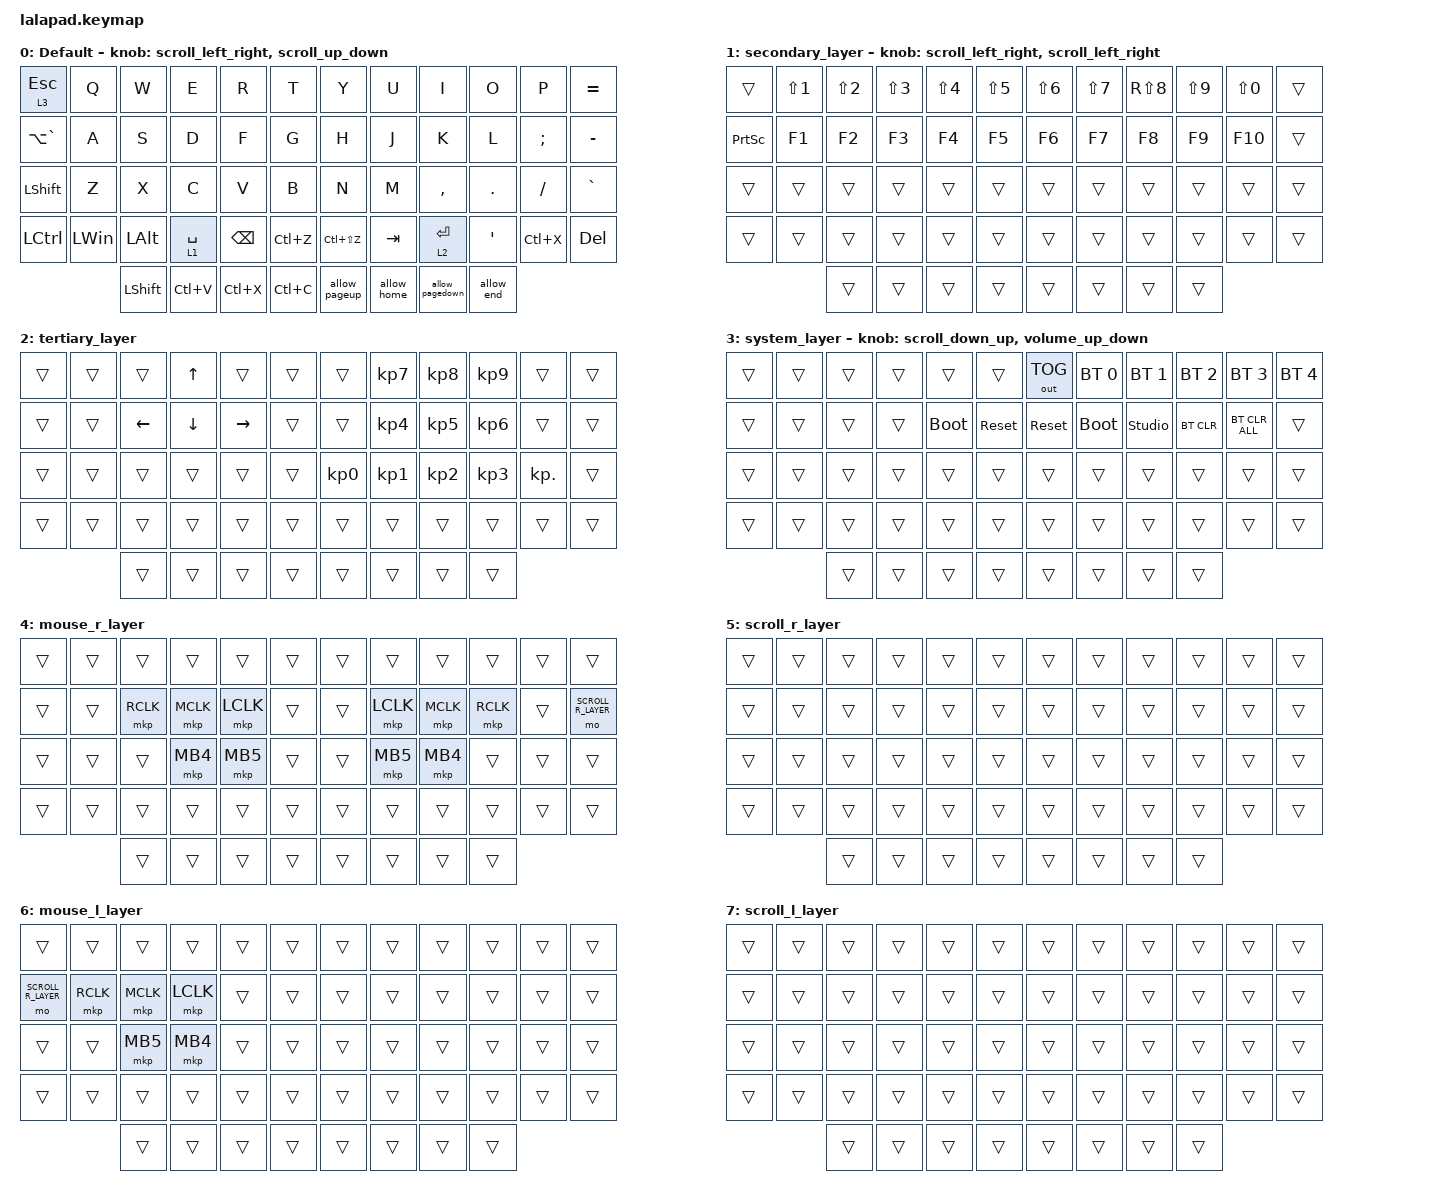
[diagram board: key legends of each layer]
#include <input/processors.dtsi>
#include <behaviors.dtsi>
#include <dt-bindings/zmk/bt.h>
#include <dt-bindings/zmk/keys.h>
#include <dt-bindings/zmk/outputs.h>
#include <dt-bindings/zmk/pointing.h>

#define DEFAULT_LAYER   0
#define SECONDARY_LAYER 1
#define TERTIARY_LAYER  2
#define SYSTEM_LAYER    3
#define MOUSE_R_LAYER   4
#define SCROLL_R_LAYER  5
#define MOUSE_L_LAYER   6
#define SCROLL_L_LAYER  7

// Mouse Scroll Value

#define ZMK_POINTING_DEFAULT_SCRL_VAL 100

// cirque trackpad input&layer control

&glidepoint_listener_R {
    input-processors =
        <&zip_xy_transform (INPUT_TRANSFORM_XY_SWAP | INPUT_TRANSFORM_X_INVERT | INPUT_TRANSFORM_Y_INVERT)>,
        <&zip_xy_scaler 6 3>,
        <&zip_temp_layer MOUSE_R_LAYER 500>;

    lowspeedmode {
        layers = <SECONDARY_LAYER>;
        input-processors =
            <&zip_xy_transform (INPUT_TRANSFORM_XY_SWAP | INPUT_TRANSFORM_X_INVERT | INPUT_TRANSFORM_Y_INVERT)>,
            <&zip_xy_scaler 3 5>,
            <&zip_temp_layer MOUSE_R_LAYER 500>;
    };

    scroller {
        layers = <SCROLL_R_LAYER>;
        input-processors =
            <&zip_xy_to_scroll_mapper>,
            <&zip_scroll_transform (INPUT_TRANSFORM_XY_SWAP | INPUT_TRANSFORM_Y_INVERT)>,
            <&zip_scroll_scaler 1 8>;
    };
};

&glidepoint_listener_L {
    input-processors =
        <&zip_xy_transform (INPUT_TRANSFORM_XY_SWAP | INPUT_TRANSFORM_X_INVERT | INPUT_TRANSFORM_Y_INVERT)>,
        <&zip_xy_scaler 3 2>,
        <&zip_temp_layer MOUSE_L_LAYER 500>;

    lowspeedmode {
        layers = <SECONDARY_LAYER>;
        input-processors =
            <&zip_xy_transform (INPUT_TRANSFORM_XY_SWAP | INPUT_TRANSFORM_X_INVERT | INPUT_TRANSFORM_Y_INVERT)>,
            <&zip_xy_scaler 3 4>,
            <&zip_temp_layer MOUSE_L_LAYER 500>;
    };

    scroller {
        layers = <SCROLL_L_LAYER>;
        input-processors =
            <&zip_xy_to_scroll_mapper>,
            <&zip_scroll_transform (INPUT_TRANSFORM_XY_SWAP | INPUT_TRANSFORM_Y_INVERT)>,
            <&zip_scroll_scaler 1 6>;
    };
};

/ {
    behaviors {
        // Encoder to Mouse Scroll

        scroll_up_down: sensor_scroll_up_down {
            compatible = "zmk,behavior-sensor-rotate";
            #sensor-binding-cells = <0>;
            bindings = <&msc SCRL_UP>, <&msc SCRL_DOWN>;

            tap-ms = <20>;
            label = "SCROLL_UP_DOWN";
        };

        scroll_down_up: sensor_scroll_down_up {
            compatible = "zmk,behavior-sensor-rotate";
            #sensor-binding-cells = <0>;
            bindings = <&msc SCRL_DOWN>, <&msc SCRL_UP>;

            tap-ms = <20>;
            label = "SCROLL_DOWN_UP";
        };

        scroll_left_right: sensor_scroll_left_right {
            compatible = "zmk,behavior-sensor-rotate";
            #sensor-binding-cells = <0>;
            bindings = <&msc SCRL_LEFT>, <&msc SCRL_RIGHT>;

            tap-ms = <20>;
            label = "SCROLL_LEFT_RIGHT";
        };

        scroll_right_left: sensor_scroll_right_left {
            compatible = "zmk,behavior-sensor-rotate";
            #sensor-binding-cells = <0>;
            bindings = <&msc SCRL_RIGHT>, <&msc SCRL_LEFT>;

            tap-ms = <20>;
            label = "SCROLL_RIGHT_LEFT";
        };

        volume_up_down: sensor_volume_up_down {
            compatible = "zmk,behavior-sensor-rotate";
            #sensor-binding-cells = <0>;
            bindings = <&kp C_VOLUME_UP>, <&kp C_VOLUME_DOWN>;

            tap-ms = <20>;
            label = "VOLUME_UP_DOWN";
        };

        dot_comma: dot_comma {
            compatible = "zmk,behavior-mod-morph";
            #binding-cells = <0>;
            bindings = <&kp KP_DOT>, <&kp COMMA>;

            mods = <(MOD_LSFT|MOD_RSFT)>;
            label = "DOT_COMMA";
        };

        pls_minus: pls_minus {
            compatible = "zmk,behavior-mod-morph";
            #binding-cells = <0>;
            bindings = <&kp PLUS>, <&kp MINUS>;

            mods = <(MOD_LSFT|MOD_RSFT)>;
            label = "PLS_MINUS";
        };

        allow_pageup: allow_pageup {
            compatible = "zmk,behavior-mod-morph";
            #binding-cells = <0>;
            bindings = <&kp UP>, <&kp PAGE_UP>;

            mods = <(MOD_LCTL|MOD_RCTL)>;
            label = "ALLOW_PAGEUP";
        };

        allow_pagedown: allow_pagedown {
            compatible = "zmk,behavior-mod-morph";
            #binding-cells = <0>;
            bindings = <&kp DOWN>, <&kp PAGE_DOWN>;

            mods = <(MOD_LCTL|MOD_RCTL)>;
            label = "ALLOW_PAGEDOWN";
        };

        allow_home: allow_home {
            compatible = "zmk,behavior-mod-morph";
            #binding-cells = <0>;
            bindings = <&kp LEFT>, <&kp HOME>;

            mods = <(MOD_LCTL|MOD_RCTL)>;
            label = "ALLOW_HOME";
        };

        allow_end: allow_end {
            compatible = "zmk,behavior-mod-morph";
            #binding-cells = <0>;
            bindings = <&kp RIGHT>, <&kp END>;

            mods = <(MOD_LCTL|MOD_RCTL)>;
            label = "ALLOW_END";
        };

        mt2: mod_tap2 {
            compatible = "zmk,behavior-hold-tap";
            #binding-cells = <2>;
            flavor = "tap-preferred";
            tapping-term-ms = <200>;
            quick-tap-ms = <200>;
            require-prior-idle-ms = <125>;
            bindings = <&kp>, <&kp>;
        };
    };

    keymap {
        compatible = "zmk,keymap";

        DEFAULT_LAYER {
            display-name = "Default";
            sensor-bindings = <&scroll_left_right>, <&scroll_up_down>;

            bindings = <
&lt 3 ESCAPE   &kp Q         &kp W         &kp E        &kp R          &kp T      &kp Y          &kp U        &kp I            &kp O             &kp P          &kp EQUAL
&kp LA(GRAVE)  &kp A         &kp S         &kp D        &kp F          &kp G      &kp H          &kp J        &kp K            &kp L             &kp SEMICOLON  &kp MINUS
&kp LSHFT      &kp Z         &kp X         &kp C        &kp V          &kp B      &kp N          &kp M        &kp COMMA        &kp PERIOD        &kp SLASH      &kp GRAVE
&kp LCTRL      &kp LEFT_WIN  &kp LEFT_ALT  &lt 1 SPACE  &kp BACKSPACE  &kp LC(Z)  &kp LC(LS(Z))  &kp TAB      &lt 2 ENTER      &kp SINGLE_QUOTE  &kp LC(X)      &kp DELETE
                             &kp LSHFT     &kp LC(V)    &kp LC(X)      &kp LC(C)  &allow_pageup  &allow_home  &allow_pagedown  &allow_end
            >;
        };

        SECONDARY_LAYER {
            display-name = "secondary_layer";
            sensor-bindings = <&scroll_left_right>, <&scroll_left_right>;

            bindings = <
&trans           &kp LS(NUMBER_1)  &kp LS(NUMBER_2)  &kp LS(NUMBER_3)  &kp LS(NUMBER_4)  &kp LS(NUMBER_5)  &kp LS(NUMBER_6)  &kp LS(N7)  &kp RS(N8)  &kp LS(N9)  &kp LS(N0)  &trans
&kp PRINTSCREEN  &kp F1            &kp F2            &kp F3            &kp F4            &kp F5            &kp F6            &kp F7      &kp F8      &kp F9      &kp F10     &trans
&trans           &trans            &trans            &trans            &trans            &trans            &trans            &trans      &trans      &trans      &trans      &trans
&trans           &trans            &trans            &trans            &trans            &trans            &trans            &trans      &trans      &trans      &trans      &trans
                                   &trans            &trans            &trans            &trans            &trans            &trans      &trans      &trans
            >;
        };

        TERTIARY_LAYER {
            display-name = "tertiary_layer";
            bindings = <
&trans  &trans  &trans          &kp UP_ARROW    &trans           &trans  &trans           &kp KP_NUMBER_7  &kp KP_NUMBER_8  &kp KP_NUMBER_9  &trans      &trans
&trans  &trans  &kp LEFT_ARROW  &kp DOWN_ARROW  &kp RIGHT_ARROW  &trans  &trans           &kp KP_NUMBER_4  &kp KP_NUMBER_5  &kp KP_NUMBER_6  &trans      &trans
&trans  &trans  &trans          &trans          &trans           &trans  &kp KP_NUMBER_0  &kp KP_NUMBER_1  &kp KP_NUMBER_2  &kp KP_NUMBER_3  &kp KP_DOT  &trans
&trans  &trans  &trans          &trans          &trans           &trans  &trans           &trans           &trans           &trans           &trans      &trans
                &trans          &trans          &trans           &trans  &trans           &trans           &trans           &trans
            >;
        };

        SYSTEM_LAYER {
            display-name = "system_layer";
            sensor-bindings = <&scroll_down_up>, <&volume_up_down>;

            bindings = <
&trans  &trans  &trans  &trans  &trans       &trans      &out OUT_TOG  &bt BT_SEL 0  &bt BT_SEL 1    &bt BT_SEL 2  &bt BT_SEL 3    &bt BT_SEL 4
&trans  &trans  &trans  &trans  &bootloader  &sys_reset  &sys_reset    &bootloader   &studio_unlock  &bt BT_CLR    &bt BT_CLR_ALL  &trans
&trans  &trans  &trans  &trans  &trans       &trans      &trans        &trans        &trans          &trans        &trans          &trans
&trans  &trans  &trans  &trans  &trans       &trans      &trans        &trans        &trans          &trans        &trans          &trans
                &trans  &trans  &trans       &trans      &trans        &trans        &trans          &trans
            >;
        };

        MOUSE_R_LAYER {
            display-name = "mouse_r_layer";
            bindings = <
&trans  &trans  &trans     &trans     &trans     &trans  &trans  &trans     &trans     &trans     &trans  &trans
&trans  &trans  &mkp RCLK  &mkp MCLK  &mkp LCLK  &trans  &trans  &mkp LCLK  &mkp MCLK  &mkp RCLK  &trans  &mo SCROLL_R_LAYER
&trans  &trans  &trans     &mkp MB4   &mkp MB5   &trans  &trans  &mkp MB5   &mkp MB4   &trans     &trans  &trans
&trans  &trans  &trans     &trans     &trans     &trans  &trans  &trans     &trans     &trans     &trans  &trans
                &trans     &trans     &trans     &trans  &trans  &trans     &trans     &trans
            >;
        };

        SCROLL_R_LAYER {
            display-name = "scroll_r_layer";
            bindings = <
&trans  &trans  &trans  &trans  &trans  &trans  &trans  &trans  &trans  &trans  &trans  &trans
&trans  &trans  &trans  &trans  &trans  &trans  &trans  &trans  &trans  &trans  &trans  &trans
&trans  &trans  &trans  &trans  &trans  &trans  &trans  &trans  &trans  &trans  &trans  &trans
&trans  &trans  &trans  &trans  &trans  &trans  &trans  &trans  &trans  &trans  &trans  &trans
                &trans  &trans  &trans  &trans  &trans  &trans  &trans  &trans
            >;
        };

        MOUSE_L_LAYER {
            display-name = "mouse_l_layer";
            bindings = <
&trans              &trans     &trans     &trans     &trans  &trans  &trans  &trans  &trans  &trans  &trans  &trans
&mo SCROLL_R_LAYER  &mkp RCLK  &mkp MCLK  &mkp LCLK  &trans  &trans  &trans  &trans  &trans  &trans  &trans  &trans
&trans              &trans     &mkp MB5   &mkp MB4   &trans  &trans  &trans  &trans  &trans  &trans  &trans  &trans
&trans              &trans     &trans     &trans     &trans  &trans  &trans  &trans  &trans  &trans  &trans  &trans
                               &trans     &trans     &trans  &trans  &trans  &trans  &trans  &trans
            >;
        };

        SCROLL_L_LAYER {
            display-name = "scroll_l_layer";
            bindings = <
&trans  &trans  &trans  &trans  &trans  &trans  &trans  &trans  &trans  &trans  &trans  &trans
&trans  &trans  &trans  &trans  &trans  &trans  &trans  &trans  &trans  &trans  &trans  &trans
&trans  &trans  &trans  &trans  &trans  &trans  &trans  &trans  &trans  &trans  &trans  &trans
&trans  &trans  &trans  &trans  &trans  &trans  &trans  &trans  &trans  &trans  &trans  &trans
                &trans  &trans  &trans  &trans  &trans  &trans  &trans  &trans
            >;
        };
    };
};
